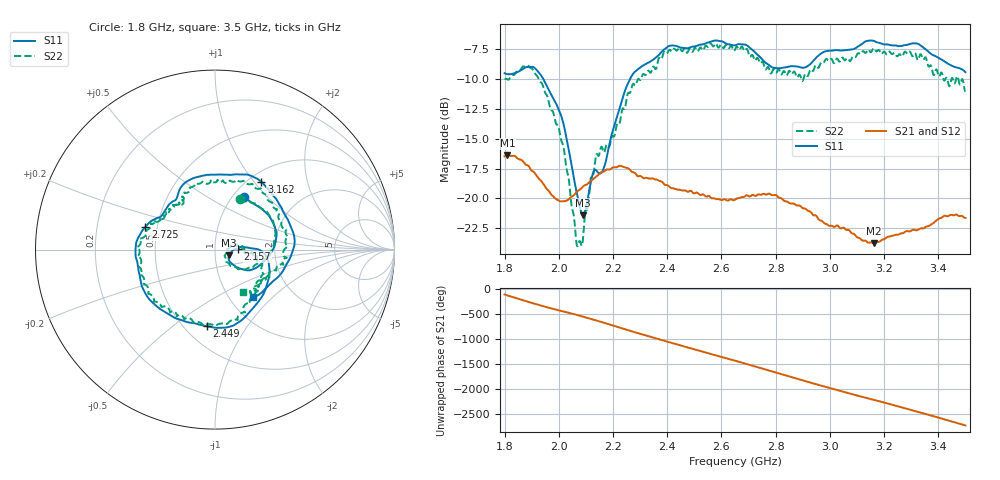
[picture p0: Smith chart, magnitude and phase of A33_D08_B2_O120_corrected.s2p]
! Created with skrf 1.9.0 (http://scikit-rf.org).
# Hz S RI R 50.0
!freq ReS11 ImS11 ReS21 ImS21 ReS12 ImS12 ReS22 ImS22
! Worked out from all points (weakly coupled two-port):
!   1601 points, 1.8 GHz to 3.5 GHz, reference 50 ohm
!   highest |S21| = -16.39 dB at 1.811 GHz (marker M1); lowest = -23.7 dB at 3.161 GHz (marker M2)
!   lowest |S11| = -21.4 dB at 2.09 GHz (marker M3), VSWR 1.19, Z = 58.4 - j3.75 ohm
!   |S11| at or under -10 dB: 1.943 GHz to 2.262 GHz (319.2 MHz wide, 15.2 % of centre)
!   |S22| runs from -24.0 to -7.0 dB; largest |S21 - S12| = 0.0028
!   S11 on the Smith chart (normalised r, x): 1.8 GHz: 1.13, +0.74; 2.157 GHz: 1.29, +0.01; 2.449 GHz: 0.64, -0.67; 2.725 GHz: 0.43, +0.13; 3.162 GHz: 1.14, +1.09; 3.5 GHz: 1.28, -0.76
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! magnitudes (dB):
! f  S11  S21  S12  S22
! 1.8 GHz  -9.5  -16.5  -16.5  -10.0
! 1.811 GHz  -9.6  -16.4  -16.4  -10.0
! 1.884 GHz  -9.0  -17.2  -17.3  -8.9
! 1.94 GHz  -9.9  -18.7  -18.7  -10.5
! 2.013 GHz  -13.4  -20.2  -20.2  -15.3
! 2.065 GHz  -19.4  -19.5  -19.5  -23.6
! 2.084 GHz  -21.2  -19.1  -19.1  -23.9
! 2.09 GHz  -21.4  -19.0  -19.0  -23.1
! 2.127 GHz  -17.8  -18.4  -18.4  -18.0
! 2.157 GHz  -17.9  -17.8  -17.8  -15.7
! 2.26 GHz  -10.1  -17.5  -17.6  -11.2
! 2.367 GHz  -8.0  -18.5  -18.4  -8.3
! 2.449 GHz  -7.4  -19.3  -19.3  -7.5
! 2.65 GHz  -7.2  -20.1  -20.1  -7.5
! 2.725 GHz  -7.8  -19.8  -19.8  -8.4
! 2.797 GHz  -9.1  -19.7  -19.7  -9.3
! 2.934 GHz  -8.6  -21.3  -21.3  -9.2
! 3.161 GHz  -6.8  -23.7  -23.7  -7.4
! 3.162 GHz  -6.8  -23.7  -23.7  -7.4
! 3.217 GHz  -7.1  -23.2  -23.2  -7.7
! 3.34 GHz  -7.3  -22.5  -22.5  -8.1
! 3.5 GHz  -9.4  -21.6  -21.6  -11.0
